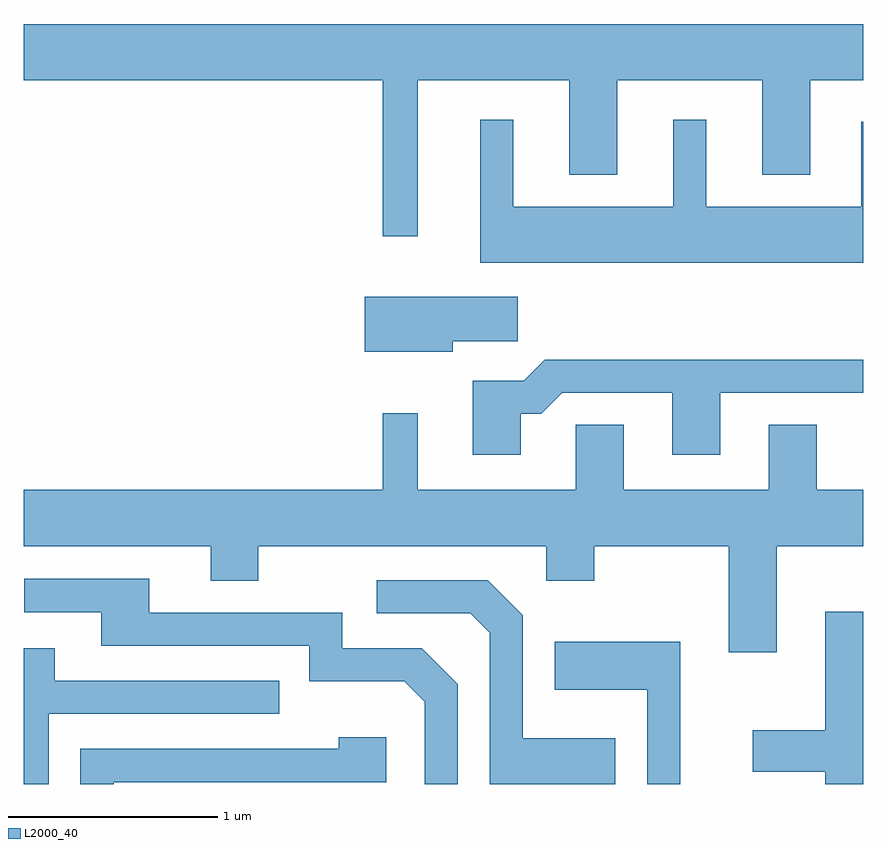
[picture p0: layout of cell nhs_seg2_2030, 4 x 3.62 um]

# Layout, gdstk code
import gdstk
lib = gdstk.Library(unit=1e-6, precision=1e-09)
def P(c, l, *ps):  # polygons
    for p in ps: c.add(gdstk.Polygon(p, *l))
L2000_40 = (2000, 40)

nhs_seg2_2030 = lib.new_cell('nhs_seg2_2030')
P(nhs_seg2_2030, L2000_40, [(245.489,1097.156),(246.211,1097.156),(246.211,1096.706),(246.439,1096.706),(246.439,1097.156),(247.131,1097.156),(247.131,1096.706),(247.359,1096.706),(247.359,1097.156),(247.611,1097.156),(247.611,1097.424),(243.611,1097.424),(243.611,1097.156),(245.321,1097.156),(245.321,1096.413),(245.489,1096.413)],
  [(247.611,1096.959),(247.601,1096.959),(247.601,1096.554),(246.864,1096.554),(246.864,1096.968),(246.706,1096.968),(246.706,1096.554),(245.944,1096.554),(245.944,1096.968),(245.786,1096.968),(245.786,1096.286),(247.611,1096.286)],
  [(245.654,1095.911),(245.964,1095.911),(245.964,1096.124),(245.236,1096.124),(245.236,1095.861),(245.654,1095.861)],
  [(245.979,1095.566),(246.077,1095.566),(246.177,1095.666),(246.701,1095.666),(246.701,1095.371),(246.929,1095.371),(246.929,1095.666),(247.611,1095.666),(247.611,1095.824),(246.094,1095.824),(245.994,1095.724),(245.751,1095.724),(245.751,1095.371),(245.979,1095.371)],
  [(247.199,1094.936),(247.611,1094.936),(247.611,1095.204),(247.389,1095.204),(247.389,1095.514),(247.161,1095.514),(247.161,1095.204),(246.469,1095.204),(246.469,1095.514),(246.241,1095.514),(246.241,1095.204),(245.489,1095.204),(245.489,1095.568),(245.321,1095.568),(245.321,1095.204),(243.611,1095.204),(243.611,1094.936),(244.501,1094.936),(244.501,1094.771),(244.729,1094.771),(244.729,1094.936),(246.101,1094.936),(246.101,1094.771),(246.329,1094.771),(246.329,1094.936),(246.971,1094.936),(246.971,1094.431),(247.199,1094.431)],
  [(245.679,1094.277),(245.507,1094.449),(245.129,1094.449),(245.129,1094.619),(244.209,1094.619),(244.209,1094.779),(243.613,1094.779),(243.613,1094.621),(243.981,1094.621),(243.981,1094.461),(244.971,1094.461),(244.971,1094.291),(245.424,1094.291),(245.521,1094.194),(245.521,1093.802),(245.679,1093.802)],
  [(246.429,1094.019),(245.989,1094.019),(245.989,1094.607),(245.822,1094.774),(245.293,1094.774),(245.293,1094.616),(245.739,1094.616),(245.831,1094.524),(245.831,1093.802),(246.429,1093.802)],
  [(247.611,1094.624),(247.431,1094.624),(247.431,1094.059),(247.086,1094.059),(247.086,1093.861),(247.431,1093.861),(247.431,1093.802),(247.611,1093.802)],
  [(246.739,1094.479),(246.141,1094.479),(246.141,1094.251),(246.581,1094.251),(246.581,1093.802),(246.739,1093.802)],
  [(243.729,1094.136),(244.828,1094.136),(244.828,1094.294),(243.759,1094.294),(243.759,1094.449),(243.611,1094.449),(243.611,1093.802),(243.729,1093.802)],
  [(244.039,1093.811),(245.339,1093.811),(245.339,1094.024),(245.111,1094.024),(245.111,1093.969),(243.881,1093.969),(243.881,1093.802),(244.039,1093.802)])

lib.write_gds('nhs_seg2_2030.gds')
